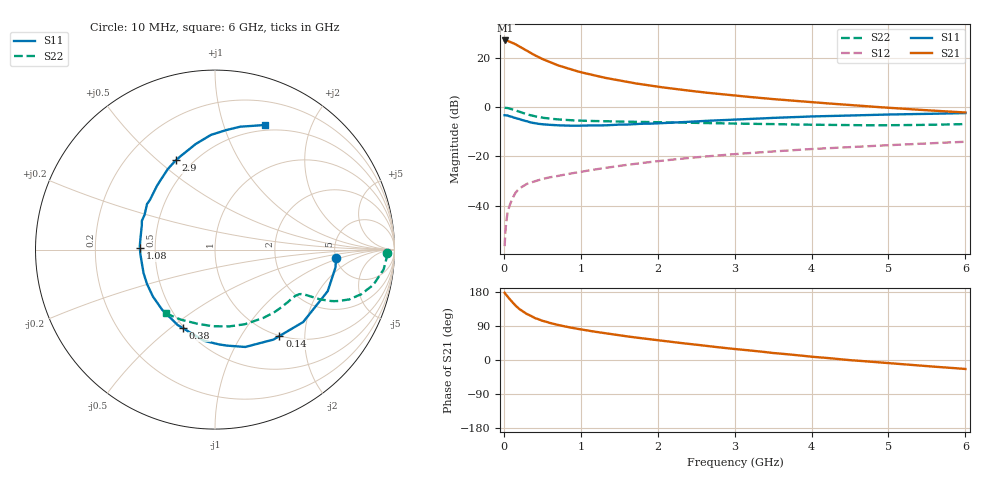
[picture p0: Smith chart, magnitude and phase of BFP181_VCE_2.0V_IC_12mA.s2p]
! Infineon Technologies  Discrete & RF Semiconductors
! BFP181
! VCE = 2.0 V,  IC =  12 mA
! Common Emitter S-Parameters:  Jan 2016
# GHz  S  MA  R  50
!  f  S11  S21  S12  S22
! GHz  MAG  ANG  MAG  ANG  MAG  ANG  MAG  ANG
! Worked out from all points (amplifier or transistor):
!   210 points, 10 MHz to 6 GHz, reference 50 ohm
!   highest |S21| = 26.9 dB at 20 MHz (marker M1)
!   |S21| within 3 dB of that: start of sweep to 232.9 MHz
!   unconditionally stable (mu >= 1): 743.2 MHz to end of sweep
!   at 185 MHz: K = 0.37, MSG = 29.2 dB, |S12| = -33.6 dB
!   at 1.52 GHz: K = 1.28, MAG = 14.0 dB, |S12| = -23.8 dB
!   at 6 GHz: K = 1.06, MAG = 4.5 dB, |S12| = -14.2 dB
!   S11 on the Smith chart (normalised r, x): 10 MHz: 5.01, -0.92; 140 MHz: 0.99, -1.50; 380 MHz: 0.49, -0.55; 1.08 GHz: 0.41, +0.01; 2.9 GHz: 0.41, +0.58; 6 GHz: 0.44, +1.39
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0.01  0.6765 -4.2  22.13 177.3  0.0015 82.6  0.9595 -1.1
0.02  0.6785 -8.5  22.2 175.0  0.0029 79.0  0.9578 -2.6
0.05  0.6694 -20.2  21.83 166.8  0.0074 83.1  0.946 -6.7
0.1  0.6358 -39.4  20.29 154.7  0.0126 72.2  0.9044 -12.5
0.14  0.6007 -53.3  18.93 146.1  0.0169 65.7  0.8605 -16.1
0.15  0.5978 -57.0  18.66 143.8  0.018 64.6  0.8501 -17.1
0.2  0.5681 -72.7  16.92 134.8  0.0221 58.9  0.7967 -20.4
0.22  0.5517 -77.6  16.18 132.0  0.0231 57.9  0.7771 -21.2
0.3  0.5115 -97.0  13.65 121.4  0.0275 53.1  0.7066 -23.9
0.38  0.4727 -112.3  11.65 113.4  0.0302 50.9  0.6567 -25.1
0.5  0.4459 -131.4  9.357 103.6  0.0344 48.9  0.6036 -25.9
0.6  0.4336 -142.9  8.077 97.7  0.0374 49.0  0.5767 -26.3
0.8  0.4191 -161.8  6.22 88.1  0.0425 49.8  0.5442 -27.1
1.02  0.4167 -177.5  4.96 79.9  0.0487 50.5  0.5242 -28.7
1.08  0.4185 179.0  4.714 77.8  0.0507 50.5  0.5208 -29.1
1.5  0.4378 158.5  3.42 65.1  0.0639 51.1  0.5043 -33.8
2.02  0.4648 138.0  2.539 51.7  0.08 49.7  0.4897 -41.1
2.9  0.5433 113.4  1.759 31.2  0.107 44.8  0.4633 -56.2
3.1  0.5601 108.6  1.64 27.2  0.1131 43.5  0.4564 -60.0
4.1  0.6445 90.5  1.213 7.1  0.1423 36.3  0.4322 -81.7
5.1  0.7036 77.1  0.936 -9.9  0.17 28.8  0.4248 -105.9
6  0.7486 68.1  0.769 -23.7  0.1961 21.5  0.4487 -127.5
